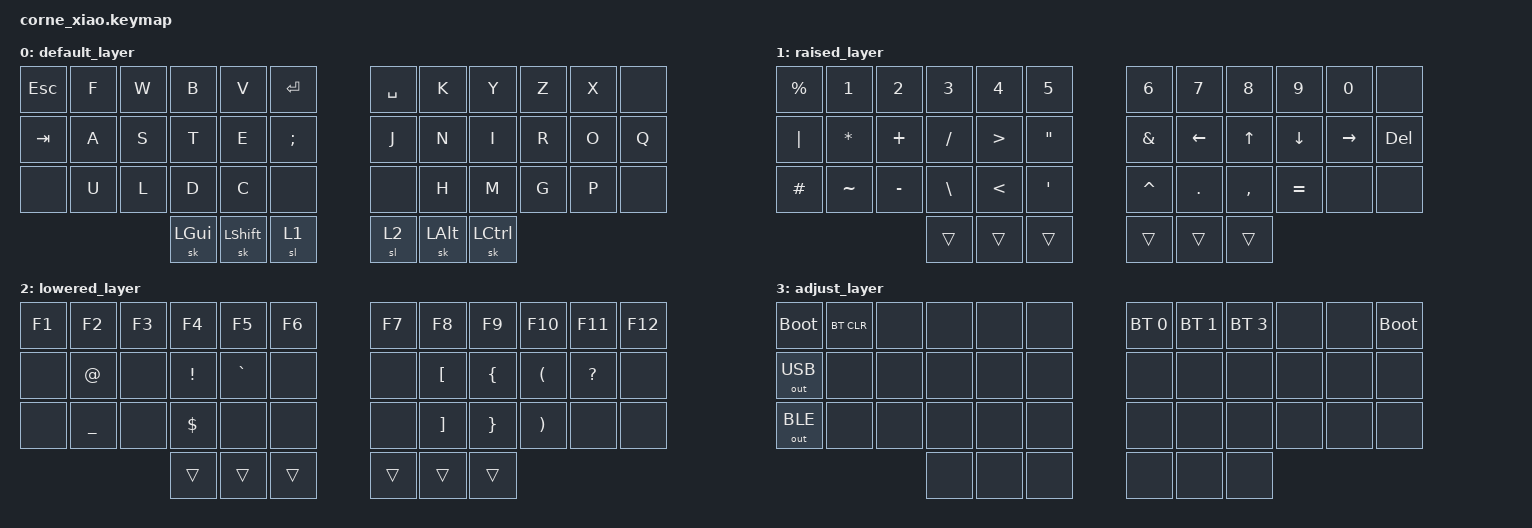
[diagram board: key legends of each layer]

#include <behaviors.dtsi>
#include <dt-bindings/zmk/keys.h>
#include <dt-bindings/zmk/bt.h>
#include <dt-bindings/zmk/outputs.h>

/ {
	behaviors {
        	shift_left: shift_left {
            		compatible = "zmk,behavior-mod-morph";
	            	#binding-cells = <0>;
	            	bindings = <&kp LEFT>, <&kp HOME>;
	            	mods = <(MOD_LSFT|MOD_RSFT)>;
        	};

        
	        shift_up: shift_up {
	            	compatible = "zmk,behavior-mod-morph";
			#binding-cells = <0>;
			bindings = <&kp UP>, <&kp PAGE_UP>;
			mods = <(MOD_LSFT|MOD_RSFT)>;
	        };

	        shift_down: shift_down {
			compatible = "zmk,behavior-mod-morph";
			#binding-cells = <0>;
			bindings = <&kp DOWN>, <&kp PAGE_DOWN>;
			mods = <(MOD_LSFT|MOD_RSFT)>;
        	};

        	shift_right: shift_right {
	        	compatible = "zmk,behavior-mod-morph";
			#binding-cells = <0>;
			bindings = <&kp RIGHT>, <&kp END>;
			mods = <(MOD_LSFT|MOD_RSFT)>;
		};
	};

	combos {
		compatible = "zmk,combos";
		combo_space {
			timeout-ms = <50>;
			key-positions = <19 20>;
			bindings = <&kp SPACE>;
		};
		combo_backspace {
			timeout-ms = <50>;
			key-positions = <20 21>;
			bindings = <&kp BACKSPACE>;
		};
		combo_enter {
			timeout-ms = <50>;
			key-positions = <15 16>;
			bindings = <&kp ENTER>;
		};
	};

	keymap {
		compatible = "zmk,keymap";
		
		default_layer {
			bindings = <
                		&kp ESC	 &kp F  &kp W  &kp B      &kp V       &kp ENTER		&kp SPACE      &kp K     &kp Y      &kp Z  &kp X  &none
                		&kp TAB	 &kp A  &kp S  &kp T      &kp E       &kp SEMI		&kp J          &kp N     &kp I      &kp R  &kp O  &kp Q
		                &none    &kp U  &kp L  &kp D      &kp C       &none		&none          &kp H     &kp M      &kp G  &kp P  &none
		                			&sk LGUI  &sk LSHIFT  &sl 1		&sl 2          &sk LALT  &sk LCTRL
			>;
		};

		raised_layer {
			bindings = <
                		&kp PERCENT  &kp N1     &kp N2     &kp N3         &kp N4  &kp N5 	&kp N6     &kp N7       &kp N8     &kp N9       &kp N0        &none
                		&kp PIPE     &kp STAR   &kp PLUS   &kp SLASH      &kp GT  &kp DQT   	&kp AMPS   &kp LEFT     &kp UP     &kp DOWN     &kp RIGHT     &kp DEL
                		&kp HASH     &kp TILDE  &kp MINUS  &kp BACKSLASH  &kp LT  &kp SQT    	&kp CARET  &kp DOT      &kp COMMA  &kp EQUAL    &none         &none
                		                                   &trans         &trans   &trans     	&trans     &trans       &trans
			>;
		};

		lowered_layer {
			bindings = <
		                &kp F1  &kp F2     &kp F3  &kp F4      &kp F5     &kp F6	     &kp F7     &kp F8             &kp F9           &kp F10   &kp F11  &kp F12
		                &none   &kp AT     &none   &kp EXCL    &kp GRAVE  &none        &none      &kp LEFT_BRACKET   &kp LEFT_BRACE   &kp LPAR  &kp QMARK    &none
               			&none   &kp UNDER  &none   &kp DOLLAR  &none      &none	     &none      &kp RIGHT_BRACKET  &kp RIGHT_BRACE  &kp RPAR  &none    &none
		                                           &trans      &trans     &trans	     &trans     &trans             &trans
			>;
		};

		adjust_layer {
			bindings = <
				&bootloader   &bt BT_CLR  &none  &none  &none  &none		&bt BT_SEL 0  &bt BT_SEL 1  &bt BT_SEL 3  &none  &none  &bootloader
				&out OUT_USB  &none       &none  &none  &none  &none		&none         &none         &none         &none  &none  &none
				&out OUT_BLE  &none       &none  &none  &none  &none		&none         &none         &none         &none  &none  &none
				                                 &none  &none  &none		&none         &none         &none
			>;
		};
	};

	conditional_layers {
		compatible = "zmk,conditional-layers";
		tri_layer {
			if-layers = <1 2>;
			then-layer = <3>;
		};
	};
};
